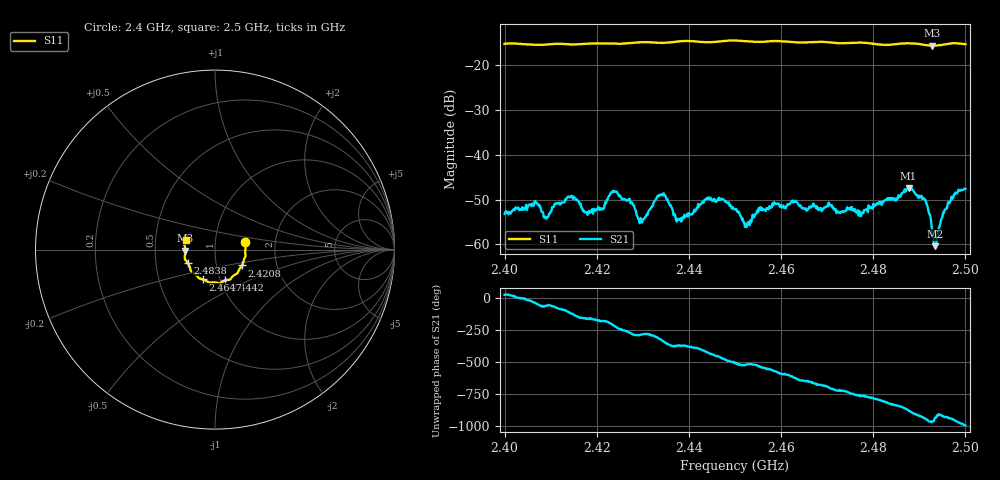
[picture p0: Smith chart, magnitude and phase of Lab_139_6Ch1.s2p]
# Hz S RI R 50
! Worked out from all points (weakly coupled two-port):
!   601 points, 2.4 GHz to 2.5 GHz, reference 50 ohm
!   highest |S21| = -47.45 dB at 2.4877 GHz (marker M1); lowest = -60.4 dB at 2.4933 GHz (marker M2)
!   lowest |S11| = -15.6 dB at 2.4928 GHz (marker M3), VSWR 1.40, Z = 35.8 - j0.412 ohm
!   |S11| at or under -10 dB: start of sweep to end of sweep
!   S12 and S22 are empty: the file has one direction only
!   S11 on the Smith chart (normalised r, x): 2.4 GHz: 1.40, +0.12; 2.4208 GHz: 1.33, -0.24; 2.4442 GHz: 1.05, -0.37; 2.4647 GHz: 0.83, -0.29; 2.4838 GHz: 0.73, -0.11; 2.5 GHz: 0.72, +0.08
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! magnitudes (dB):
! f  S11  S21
! 2.4 GHz  -15.2  -53.2
! 2.4167 GHz  -15.3  -51.8
! 2.4208 GHz  -15.1  -51.9
! 2.4238 GHz  -15.2  -48.2
! 2.4298 GHz  -14.9  -55.1
! 2.4333 GHz  -15.0  -49.2
! 2.4378 GHz  -14.7  -54.5
! 2.4442 GHz  -14.9  -49.5
! 2.45 GHz  -14.5  -52.2
! 2.4527 GHz  -14.7  -55.6
! 2.4587 GHz  -14.6  -50.8
! 2.4647 GHz  -14.9  -52.0
! 2.4667 GHz  -14.8  -51.4
! 2.4773 GHz  -14.9  -53.7
! 2.4833 GHz  -15.5  -50.0
! 2.4838 GHz  -15.4  -50.0
! 2.4877 GHz  -15.1  -47.5
! 2.4913 GHz  -15.5  -50.2
! 2.4928 GHz  -15.6  -57.5
! 2.4933 GHz  -15.6  -60.4
! 2.4967 GHz  -15.1  -50.4
! 2.5 GHz  -15.3  -47.6
